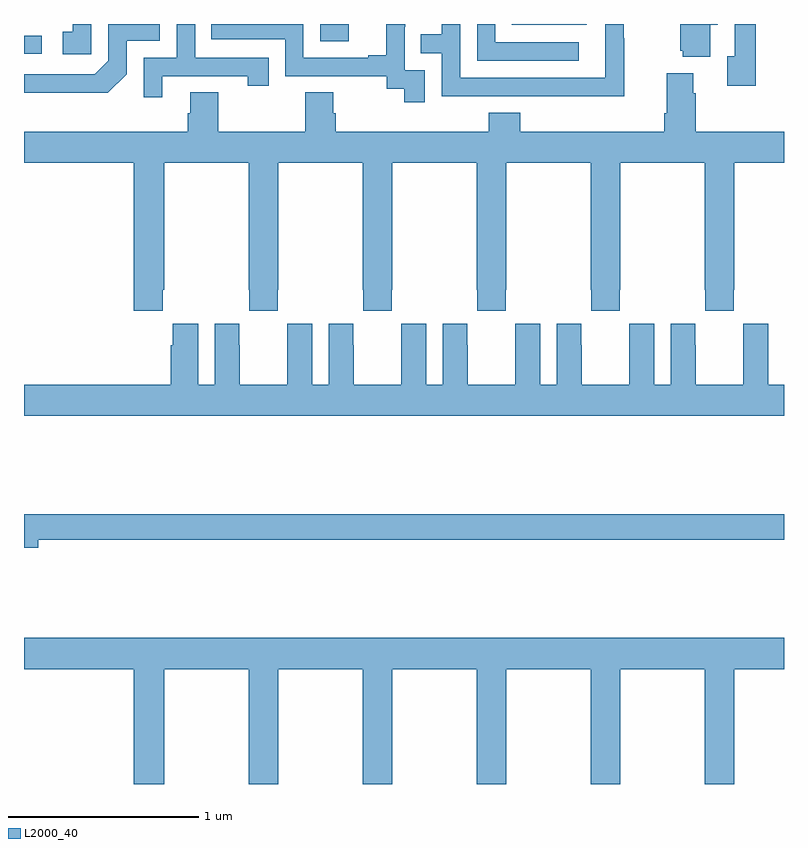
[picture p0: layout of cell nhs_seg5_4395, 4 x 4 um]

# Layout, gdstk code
import gdstk
lib = gdstk.Library(unit=1e-6, precision=1e-09)
def R(c, l, rs):  # rectangles x0, y0, x1, y1
    for r in rs: c.add(gdstk.rectangle(r[:2], r[2:], *l))
def P(c, l, *ps):  # polygons
    for p in ps: c.add(gdstk.Polygon(p, *l))
L2000_40 = (2000, 40)

nhs_seg5_4395 = lib.new_cell('nhs_seg5_4395')
R(nhs_seg5_4395, L2000_40, [(369,882.642,369.094,882.738), (370.56,882.708,370.708,882.799), (371.566,882.794,371.962,882.799)])
P(nhs_seg5_4395, L2000_40, [(372.613,882.794),(372.652,882.794),(372.652,882.799),(372.455,882.799),(372.455,882.657),(372.467,882.657),(372.467,882.626),(372.613,882.626)],
  [(369.54,882.534),(369.54,882.711),(369.714,882.711),(369.714,882.799),(369.444,882.799),(369.444,882.606),(369.372,882.534),(369,882.534),(369,882.438),(369.034,882.438),(369.034,882.437),(369.442,882.437)],
  [(372.85,882.799),(372.741,882.799),(372.741,882.63),(372.701,882.63),(372.701,882.474),(372.85,882.474)],
  [(371.92,882.702),(371.481,882.702),(371.481,882.799),(371.385,882.799),(371.385,882.606),(371.92,882.606)],
  [(371.109,882.555),(371.004,882.555),(371.004,882.785),(371.006,882.785),(371.006,882.799),(370.907,882.799),(370.907,882.634),(370.811,882.634),(370.811,882.621),(370.47,882.621),(370.47,882.799),(369.985,882.799),(369.985,882.72),(370.374,882.72),(370.374,882.525),(370.908,882.525),(370.908,882.457),(371.001,882.457),(371.001,882.387),(371.109,882.387)],
  [(369.354,882.799),(369.257,882.799),(369.257,882.759),(369.204,882.759),(369.204,882.639),(369.354,882.639)],
  [(372.159,882.725),(372.156,882.725),(372.156,882.799),(372.06,882.799),(372.06,882.77),(372.059,882.77),(372.059,882.516),(371.295,882.516),(371.295,882.799),(371.199,882.799),(371.199,882.746),(371.089,882.746),(371.089,882.645),(371.199,882.645),(371.199,882.42),(371.695,882.42),(371.695,882.419),(372.159,882.419)],
  [(369.727,882.525),(370.178,882.525),(370.178,882.474),(370.289,882.474),(370.289,882.621),(369.9,882.621),(369.9,882.799),(369.804,882.799),(369.804,882.621),(369.63,882.621),(369.63,882.414),(369.727,882.414)],
  [(372.536,882.434),(372.523,882.434),(372.523,882.541),(372.383,882.541),(372.383,882.328),(372.371,882.328),(372.371,882.232),(371.612,882.232),(371.612,882.331),(371.447,882.331),(371.447,882.232),(370.64,882.232),(370.64,882.33),(370.627,882.33),(370.627,882.44),(370.48,882.44),(370.48,882.232),(370.023,882.232),(370.023,882.44),(369.875,882.44),(369.875,882.33),(369.863,882.33),(369.863,882.232),(369,882.232),(369,882.068),(369.578,882.068),(369.578,881.289),(369.731,881.289),(369.731,881.401),(369.738,881.401),(369.738,882.068),(370.183,882.068),(370.183,881.401),(370.185,881.401),(370.185,881.289),(370.335,881.289),(370.335,881.401),(370.338,881.401),(370.338,882.068),(370.783,882.068),(370.783,881.401),(370.785,881.401),(370.785,881.289),(370.935,881.289),(370.935,881.401),(370.938,881.401),(370.938,882.068),(371.383,882.068),(371.383,881.401),(371.385,881.401),(371.385,881.289),(371.535,881.289),(371.535,881.401),(371.538,881.401),(371.538,882.068),(371.983,882.068),(371.983,881.401),(371.985,881.401),(371.985,881.289),(372.135,881.289),(372.135,881.401),(372.138,881.401),(372.138,882.068),(372.583,882.068),(372.583,881.401),(372.585,881.401),(372.585,881.289),(372.735,881.289),(372.735,881.401),(372.738,881.401),(372.738,882.068),(373,882.068),(373,882.232),(372.536,882.232)],
  [(373,880.9),(372.916,880.9),(372.916,881.221),(372.786,881.221),(372.786,881.108),(372.785,881.108),(372.785,880.9),(372.535,880.9),(372.535,881.108),(372.534,881.108),(372.534,881.221),(372.404,881.221),(372.404,880.9),(372.316,880.9),(372.316,881.221),(372.186,881.221),(372.186,881.108),(372.185,881.108),(372.185,880.9),(371.935,880.9),(371.935,881.108),(371.934,881.108),(371.934,881.221),(371.804,881.221),(371.804,880.9),(371.716,880.9),(371.716,881.221),(371.586,881.221),(371.586,881.108),(371.585,881.108),(371.585,880.9),(371.335,880.9),(371.335,881.108),(371.334,881.108),(371.334,881.221),(371.204,881.221),(371.204,880.9),(371.116,880.9),(371.116,881.221),(370.986,881.221),(370.986,881.108),(370.985,881.108),(370.985,880.9),(370.735,880.9),(370.735,881.108),(370.734,881.108),(370.734,881.221),(370.604,881.221),(370.604,880.9),(370.516,880.9),(370.516,881.221),(370.386,881.221),(370.386,881.108),(370.385,881.108),(370.385,880.9),(370.135,880.9),(370.135,881.108),(370.134,881.108),(370.134,881.221),(370.004,881.221),(370.004,880.9),(369.916,880.9),(369.916,881.221),(369.782,881.221),(369.782,881.108),(369.773,881.108),(369.773,880.9),(369,880.9),(369,880.736),(373,880.736)],
  [(369.076,880.084),(373,880.084),(373,880.22),(369,880.22),(369,880.042),(369.076,880.042)],
  [(369.738,879.404),(370.183,879.404),(370.183,878.799),(370.338,878.799),(370.338,879.404),(370.783,879.404),(370.783,878.799),(370.938,878.799),(370.938,879.404),(371.383,879.404),(371.383,878.799),(371.538,878.799),(371.538,879.404),(371.983,879.404),(371.983,878.799),(372.138,878.799),(372.138,879.404),(372.583,879.404),(372.583,878.799),(372.738,878.799),(372.738,879.404),(373,879.404),(373,879.568),(369,879.568),(369,879.404),(369.578,879.404),(369.578,878.799),(369.738,878.799)])

lib.write_gds('nhs_seg5_4395.gds')
